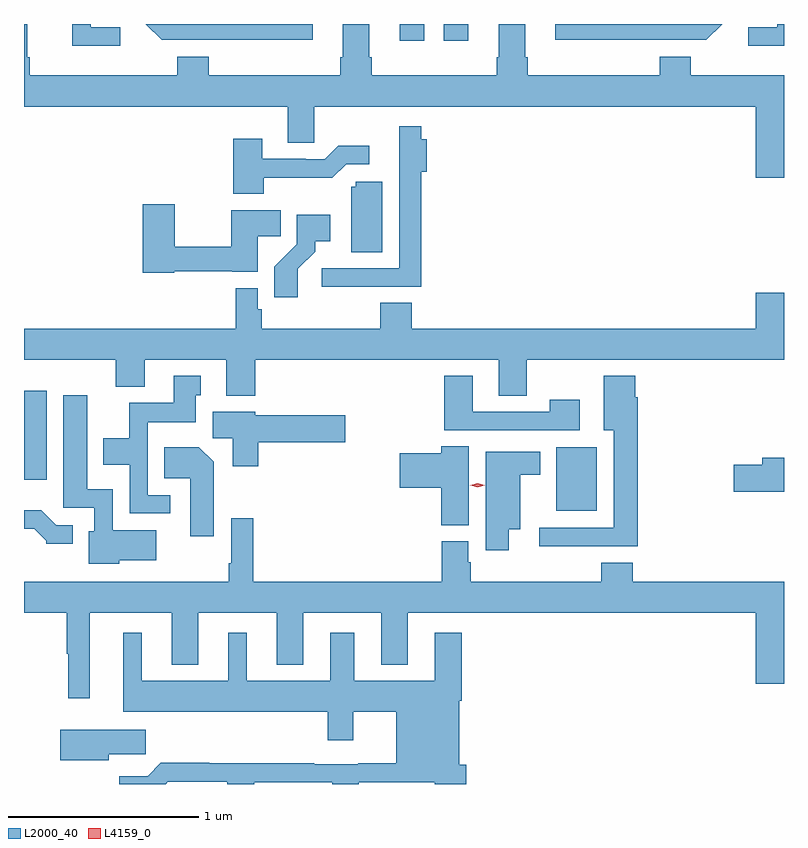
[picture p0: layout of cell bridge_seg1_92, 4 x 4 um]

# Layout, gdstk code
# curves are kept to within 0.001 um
import gdstk
lib = gdstk.Library(unit=1e-6, precision=1e-09)
def R(c, l, rs):  # rectangles x0, y0, x1, y1
    for r in rs: c.add(gdstk.rectangle(r[:2], r[2:], *l))
def P(c, l, *ps):  # polygons
    for p in ps: c.add(gdstk.Polygon(p, *l))
L2000_40 = (2000, 40)
L4159_0 = (4159, 0)

bridge_seg1_92 = lib.new_cell('bridge_seg1_92')
R(bridge_seg1_92, L2000_40, [(271.85,576.245,272.062,576.58), (269.048,576.408,269.167,576.877), (271.025,578.718,271.155,578.807), (271.257,578.718,271.387,578.807)])
P(bridge_seg1_92, L2000_40, [(273.048,578.536),(272.558,578.536),(272.558,578.635),(272.393,578.635),(272.393,578.536),(271.7,578.536),(271.7,578.632),(271.687,578.632),(271.687,578.807),(271.547,578.807),(271.547,578.632),(271.535,578.632),(271.535,578.536),(270.878,578.536),(270.878,578.632),(270.865,578.632),(270.865,578.807),(270.725,578.807),(270.725,578.632),(270.713,578.632),(270.713,578.536),(270.02,578.536),(270.02,578.635),(269.855,578.635),(269.855,578.536),(269.078,578.536),(269.078,578.632),(269.065,578.632),(269.065,578.807),(269.048,578.807),(269.048,578.372),(270.437,578.372),(270.437,578.182),(270.576,578.182),(270.576,578.372),(272.9,578.372),(272.9,577.998),(273.048,577.998)],
  [(270.568,578.807),(269.689,578.807),(269.772,578.724),(270.103,578.724),(270.103,578.723),(270.568,578.723)],
  [(269.554,578.791),(269.4,578.791),(269.4,578.807),(269.302,578.807),(269.302,578.693),(269.554,578.693)],
  [(272.309,578.724),(272.64,578.724),(272.723,578.807),(271.844,578.807),(271.844,578.723),(272.309,578.723)],
  [(273.048,578.807),(273.012,578.807),(273.012,578.791),(272.859,578.791),(272.859,578.693),(273.048,578.693)],
  [(270.839,577.425),(271.139,577.425),(271.139,578.03),(271.169,578.03),(271.169,578.2),(271.139,578.2),(271.139,578.269),(271.022,578.269),(271.022,578.046),(271.023,578.046),(271.023,577.521),(270.615,577.521),(270.615,577.423),(270.839,577.423)],
  [(270.309,577.998),(270.671,577.997),(270.744,578.07),(270.865,578.07),(270.865,578.167),(270.703,578.167),(270.63,578.094),(270.53,578.094),(270.53,578.097),(270.301,578.097),(270.301,578.203),(270.149,578.203),(270.149,577.913),(270.309,577.913)],
  [(270.934,577.977),(270.795,577.977),(270.795,577.95),(270.77,577.95),(270.77,577.606),(270.934,577.606)],
  [(269.838,577.506),(270.144,577.506),(270.144,577.502),(270.277,577.502),(270.277,577.69),(270.398,577.69),(270.398,577.828),(270.14,577.828),(270.14,577.634),(269.842,577.634),(269.842,577.858),(269.672,577.858),(269.672,577.498),(269.838,577.498)],
  [(270.49,577.519),(270.58,577.609),(270.58,577.664),(270.661,577.664),(270.661,577.804),(270.483,577.804),(270.483,577.649),(270.364,577.53),(270.364,577.368),(270.49,577.368)],
  [(271.695,577.04),(273.048,577.04),(273.048,577.393),(272.9,577.393),(272.9,577.204),(271.088,577.204),(271.088,577.34),(270.923,577.34),(270.923,577.204),(270.299,577.204),(270.299,577.305),(270.279,577.305),(270.279,577.417),(270.163,577.417),(270.163,577.204),(269.048,577.204),(269.048,577.04),(269.531,577.04),(269.531,576.899),(269.683,576.899),(269.683,577.04),(270.113,577.04),(270.113,576.851),(270.266,576.851),(270.266,577.04),(271.547,577.04),(271.547,576.85),(271.695,576.85)],
  [(269.818,576.327),(269.7,576.327),(269.7,576.71),(269.953,576.71),(269.953,576.852),(269.977,576.852),(269.977,576.955),(269.837,576.955),(269.837,576.814),(269.602,576.814),(269.602,576.628),(269.465,576.628),(269.465,576.488),(269.604,576.488),(269.604,576.231),(269.818,576.231)],
  [(272.279,576.842),(272.266,576.842),(272.266,576.955),(272.099,576.955),(272.099,576.668),(272.153,576.668),(272.153,576.156),(271.761,576.156),(271.761,576.059),(272.279,576.059)],
  [(271.972,576.829),(271.816,576.829),(271.816,576.765),(271.411,576.765),(271.411,576.955),(271.259,576.955),(271.259,576.669),(271.972,576.669)],
  [(269.55,575.984),(269.743,575.984),(269.743,576.142),(269.514,576.142),(269.514,576.358),(269.38,576.358),(269.38,576.853),(269.255,576.853),(269.255,576.261),(269.418,576.261),(269.418,576.138),(269.39,576.138),(269.39,575.966),(269.55,575.966)],
  [(270.281,576.605),(270.739,576.605),(270.739,576.747),(270.264,576.747),(270.264,576.766),(270.041,576.766),(270.041,576.628),(270.146,576.628),(270.146,576.48),(270.281,576.48)],
  [(271.39,576.584),(271.244,576.584),(271.244,576.548),(271.026,576.548),(271.026,576.365),(271.244,576.365),(271.244,576.169),(271.39,576.169)],
  [(270.046,576.502),(269.968,576.58),(269.785,576.58),(269.785,576.416),(269.924,576.416),(269.924,576.111),(270.046,576.111)],
  [(271.6,576.149),(271.66,576.149),(271.66,576.434),(271.765,576.434),(271.765,576.556),(271.478,576.556),(271.478,576.036),(271.6,576.036)],
  [(273.048,576.524),(272.933,576.524),(272.933,576.488),(272.784,576.488),(272.784,576.346),(273.048,576.346)],
  [(269.305,576.168),(269.217,576.168),(269.139,576.247),(269.048,576.247),(269.048,576.15),(269.102,576.15),(269.166,576.086),(269.166,576.071),(269.305,576.071)],
  [(269.395,575.708),(269.825,575.708),(269.825,575.435),(269.965,575.435),(269.965,575.708),(270.377,575.708),(270.377,575.435),(270.517,575.435),(270.517,575.708),(270.929,575.708),(270.929,575.435),(271.069,575.435),(271.069,575.708),(272.9,575.708),(272.9,575.334),(273.048,575.334),(273.048,575.872),(272.252,575.872),(272.252,575.971),(272.087,575.971),(272.087,575.872),(271.4,575.872),(271.4,575.973),(271.387,575.973),(271.387,576.084),(271.247,576.084),(271.247,575.872),(270.254,575.872),(270.254,576.205),(270.138,576.205),(270.138,575.968),(270.126,575.968),(270.126,575.872),(269.048,575.872),(269.048,575.708),(269.274,575.708),(269.274,575.492),(269.281,575.492),(269.281,575.259),(269.395,575.259)],
  [(269.805,574.818),(270.119,574.818),(270.119,574.807),(270.259,574.807),(270.259,574.815),(270.671,574.815),(270.671,574.807),(270.811,574.807),(270.811,574.815),(271.211,574.815),(271.211,574.807),(271.376,574.807),(271.376,574.908),(271.339,574.908),(271.339,575.246),(271.352,575.246),(271.352,575.602),(271.211,575.602),(271.211,575.35),(270.787,575.35),(270.787,575.602),(270.659,575.602),(270.659,575.35),(270.22,575.35),(270.22,575.602),(270.122,575.602),(270.122,575.35),(269.668,575.35),(269.668,575.602),(269.57,575.602),(269.57,575.186),(270.647,575.186),(270.647,575.037),(270.781,575.037),(270.781,575.186),(271.007,575.186),(271.007,574.916),(270.807,574.916),(270.807,574.911),(270.575,574.911),(270.575,574.916),(270.023,574.916),(270.023,574.919),(269.768,574.919),(269.698,574.849),(269.549,574.849),(269.549,574.807),(269.794,574.807)],
  [(269.494,574.963),(269.689,574.963),(269.689,575.092),(269.24,575.092),(269.24,574.931),(269.494,574.931)])
P(bridge_seg1_92, L4159_0, [(271.435,576.369),(271.396,576.379),(271.396,576.379),(271.396,576.379),(271.435,576.389),(271.473,576.379),(271.474,576.379),(271.473,576.379)])

lib.write_gds('bridge_seg1_92.gds')
